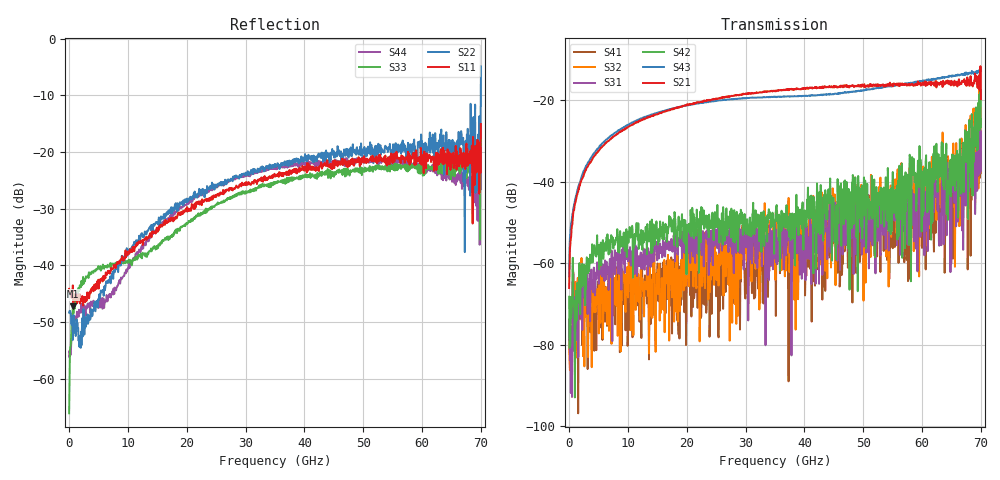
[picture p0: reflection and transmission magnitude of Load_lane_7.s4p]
! 4/13/2026 10:36:41 AM
! C:\ANRITSUVNA\DATA\SARA\2026-04-13 T5 MZDRV\DEEMB STRUCTURES\50OHM_0.S4P
! CHANNEL.1
! TR.MEASUREMENT
! CORRECTED.DATA
! RF.CORRECTION: FULL.FOUR.PORT.CAL.PORT.1.2.3.4
! AVERAGING.OFF
! IF.BANDWIDTH: 1KHZ
! SWEEPTYPE:  FREQ.SWEEP(Linear)
! Reference Plane Port Info
! PORT:  PORT1  PORT2  PORT3  PORT4
! DISTANCE:  0  m  0  m  0  m  0  m
! TIME:  0  s  0  s  0  s  0  s
! PHASE.OFFSET:  0 °  0 °  0 °  0 °
! LOSS:  0  dB  0  dB  0  dB  0  dB
! REF.LOSS:  0  dB  0  dB  0  dB  0  dB
! REF.FREQ:  0  Hz  0  Hz  0  Hz  0  Hz
! Power Info
! POWER:  -20  dBm  -20  dBm  -20  dBm  -20  dBm
! EFF.POWER:  -20  dBm  -20  dBm  -20  dBm  -20  dBm
! SOURCE.ATTEN:  0  dB  0  dB  0  dB  0  dB
! TEST.ATTEN:  0  dB  0  dB  0  dB  0  dB
# HZ S DB R 50.0
! FREQ.HZ  S11DB  S11A  S12DB  S12A  S13DB  S13A  S14DB  S14A
!  S21DB  S21A  S22DB  S22A  S23DB  S23A  S24DB  S24A
!  S31DB  S31A  S32DB  S32A  S33DB  S33A  S34DB  S34A
!  S41DB  S41A  S42DB  S42A  S43DB  S43A  S44DB  S44A
!; PortSelection: Port_1234
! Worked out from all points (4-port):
!   1001 points, 10 MHz to 70 GHz, reference 50 ohm
!   strongest paths, dB at 10 MHz, 17.51 GHz, 35.01 GHz, 52.5 GHz, 70 GHz:
!     S21: -66.1, -22.2, -17.9, -16.1, -19.8
!     S43: -63.3, -22.1, -19.2, -16.9, -12.4
!     S42: -68.2, -52.3, -49.6, -51.2, -26.6
!     S31: -74.3, -55.6, -49.5, -47.2, -37.4
!     S32: -79.3, -68.4, -51.4, -46.0, -22.0
!     S41: -78.7, -77.3, -51.0, -45.8, -37.9
!   lowest |S11| = -47.2 dB at 709.9 MHz (marker M1), VSWR 1.01, Z = 49.6 + j0.146 ohm
!   |S11| at or under -10 dB: start of sweep to end of sweep
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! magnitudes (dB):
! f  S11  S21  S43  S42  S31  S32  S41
! 10 MHz  -44.1  -66.1  -63.3  -68.2  -74.3  -79.3  -78.7
! 709.9 MHz  -47.2  -47.7  -46.7  -69.8  -62.4  -64.2  -62.2
! 5.539 GHz  -42.5  -31.6  -30.9  -56.2  -61.3  -69.8  -66.7
! 17.79 GHz  -31.6  -22.2  -22.0  -49.2  -53.2  -61.5  -63.8
! 61.04 GHz  -20.6  -16.0  -15.0  -47.0  -40.5  -46.9  -51.2
! 68.32 GHz  -22.0  -15.8  -13.4  -30.7  -37.0  -30.9  -39.4
! 70 GHz  -15.1  -19.8  -12.4  -26.6  -37.4  -22.0  -37.9
